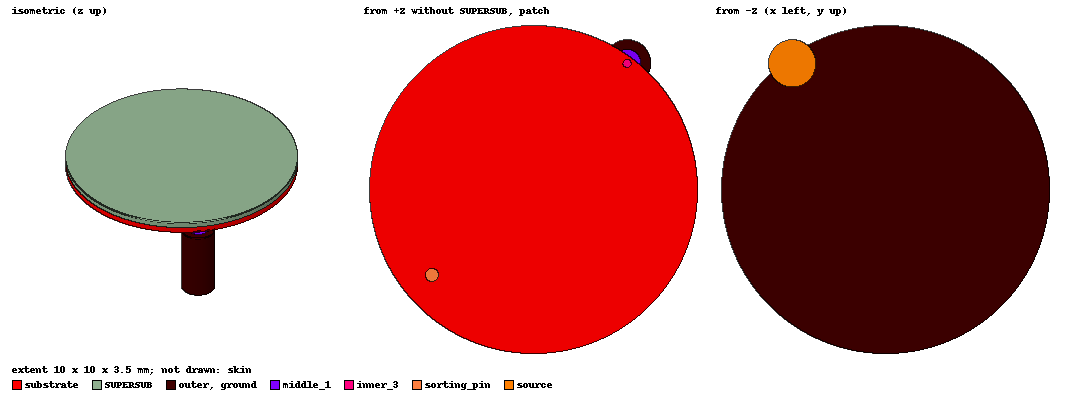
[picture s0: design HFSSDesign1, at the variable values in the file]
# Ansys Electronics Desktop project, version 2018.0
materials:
  vacuum: permittivity=1
  FR4_epoxy: permittivity=4.4 dielectric_loss_tangent=0.02
  copper: permeability=0.999991 conductivity=58000000
  Teflon (tm): permittivity=2.1 dielectric_loss_tangent=0.001
  skin: permittivity=38 conductivity=1.464

design HFSSDesign1 (HFSS, DrivenModal, model units mm)
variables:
  h = 0.25mm
  a = 7.85mm
  b = 8.85mm
  radius = 5mm
  c = 1.9mm
  d = 2.4mm
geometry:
  ground = circle(normal=Z, centre=(radius, radius, 0mm), radius=radius)
  substrate [FR4_epoxy] = cylinder(axis=Z, base_centre=(radius, radius, 0mm), radius=radius, height=h)
  patch = circle(normal=Z, centre=(radius, radius, 0.25mm), radius=radius)
  inner = cylinder(axis=Z, base_centre=(a, b, 0mm), radius=0.125mm, height=h)
  substrate.subtract(inner)
  gndcut = circle(normal=Z, centre=(a, b, 0mm), radius=0.72mm)
  outer [copper] = cylinder(axis=Z, base_centre=(a, b, 0mm), radius=0.72mm, height=-3mm)
  ground.subtract(gndcut)
  inner_1 = cylinder(axis=Z, base_centre=(a, b, 0.25mm), radius=0.125mm, height=-3.25mm)
  middle = cylinder(axis=Z, base_centre=(a, b, 0mm), radius=0.4225mm, height=-3mm)
  outer.subtract(inner_1, middle)
  middle_1 [Teflon (tm)] = cylinder(axis=Z, base_centre=(a, b, 0mm), radius=0.4225mm, height=-3mm)
  inner_2 = cylinder(axis=Z, base_centre=(a, b, 0.25mm), radius=0.125mm, height=-3.25mm)
  middle_1.subtract(inner_2)
  inner_3 [copper] = cylinder(axis=Z, base_centre=(a, b, 0.25mm), radius=0.125mm, height=-3.25mm)
  source = circle(normal=Z, centre=(a, b, -3mm), radius=0.72mm)
  skin [skin] = box(corner=(-50mm, -50mm, -95mm), size=(100mm, 100mm, 100mm))
  SUPERSUB [FR4_epoxy] = cylinder(axis=Z, base_centre=(radius, radius, h), radius=radius, height=h)
  sortiing_pin = cylinder(axis=Z, base_centre=(c, d, 0mm), radius=0.2mm, height=0.25mm)
  substrate.subtract(sortiing_pin)
  sorting_pin [copper] = cylinder(axis=Z, base_centre=(c, d, 0mm), radius=0.2mm, height=0.25mm)
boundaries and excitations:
  PerfE1: Perfect E Objects=[ground, patch]
  Rad1: Radiation Objects=skin
  1: Lumped Port Objects=source Modes{Mode1{IntLine{centre of source.face -> middle_1.edge(1 of 2) at -0.25 along} CharImp=Zpi RenormImp=50ohm}} Impedance=50ohm
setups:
  Setup1: HfssDriven Frequency=2.4GHz MaxDeltaS=0.02 MaximumPasses=6 MinimumPasses=1 MinimumConvergedPasses=1 PercentRefinement=30 MeshLink{LinkID=4 PathRelativeTo=TargetProject ApplyMeshOp AdaptPort} BasisOrder=1 PortAccuracy=2
    sweep Sweep: 1GHz to 9GHz, 201 points; Type=Fast SaveFields
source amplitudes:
  1:1: 1W 0deg
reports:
  S Parameter Plot 1: dB(S(1,1)) vs Freq on Setup1 : Sweep
  S Parameter Plot 2: dB(S(1,1)) vs Freq on Setup1 : Sweep [a=all b=all]
  S Parameter Plot 3: dB(S(1,1)) vs Freq on Setup1 : Sweep
  S Parameter Plot 4: dB(S(1,1)) vs Freq on Setup1 : Sweep [a=all b=all]
  S Parameter Plot 5: dB(S(1,1)) vs Freq on Setup1 : Sweep
  S Parameter Plot 6: dB(S(1,1)) vs Freq on Setup1 : Sweep; markers m1 at 5.87GHz
  S Parameter Plot 7: dB(S(1,1)) vs Freq on Setup1 : Sweep [a=all b=all]
  S Parameter Plot 8: dB(S(1,1)) vs Freq on Setup1 : Sweep [a=all b=all]
  S Parameter Plot 9: dB(S(1,1)) vs Freq on Setup1 : Sweep [a=all b=all]; markers m2 at 5.87GHz, m3 at 5.69GHz
  S Parameter Plot 10: dB(S(1,1)) vs Freq on Setup1 : Sweep [a=all b=all]; markers m1 at 2.36GHz, m2 at 7.96GHz
  S Parameter Table 1: dB(S(1,1)) vs Freq on Setup1 : Sweep [a=all b=all radius=all]
  S Parameter Plot 11: dB(S(1,1)) vs Freq on Setup1 : Sweep
  S Parameter Plot 12: dB(S(1,1)) vs Freq on Setup1 : Sweep [c=all d=all]
  S Parameter Table 2: dB(S(1,1)) vs Freq on Setup1 : Sweep [c=all d=all]
